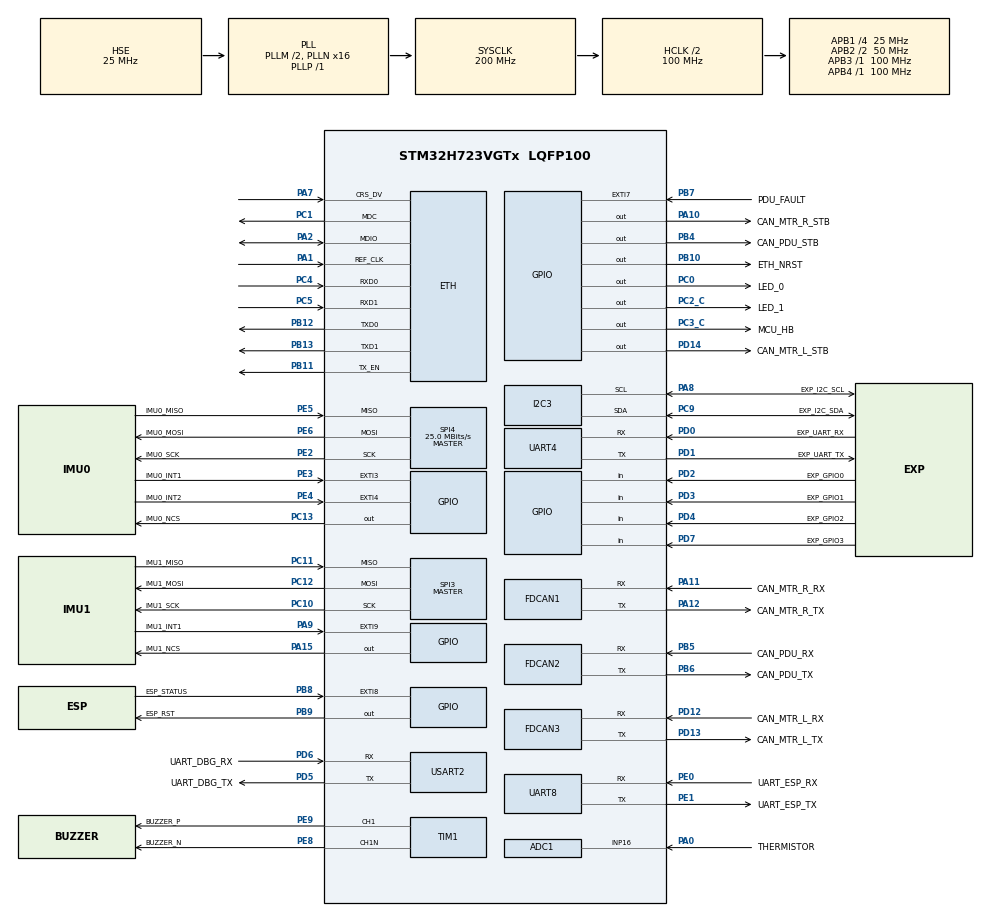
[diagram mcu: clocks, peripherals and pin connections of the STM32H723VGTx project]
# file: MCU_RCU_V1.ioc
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ADC1.Channel-2\#ChannelRegularConversion=ADC_CHANNEL_16
ADC1.NbrOfConversionFlag=1
ADC1.OffsetNumber-2\#ChannelRegularConversion=ADC_OFFSET_NONE
ADC1.OffsetSignedSaturation-2\#ChannelRegularConversion=DISABLE
ADC1.Rank-2\#ChannelRegularConversion=1
ADC1.SamplingTime-2\#ChannelRegularConversion=ADC_SAMPLETIME_1CYCLE_5
ADC1.master=1
CORTEX_M7.AccessPermission_S-Cortex_Memory_Protection_Unit_Region1_Settings_S=MPU_REGION_FULL_ACCESS
CORTEX_M7.BaseAddress_S-Cortex_Memory_Protection_Unit_Region1_Settings_S=0x30000000
CORTEX_M7.Enable_S-Cortex_Memory_Protection_Unit_Region1_Settings_S=MPU_REGION_ENABLE
CORTEX_M7.Size_S-Cortex_Memory_Protection_Unit_Region1_Settings_S=MPU_REGION_SIZE_32KB
CORTEX_M7.TypeExtField_S-Cortex_Memory_Protection_Unit_Region1_Settings_S=MPU_TEX_LEVEL1
CORTEX_M7.default_mode_Activation=1
ETH.MediaInterface=HAL_ETH_RMII_MODE
FDCAN1.CalculateBaudRateNominal=1000000
FDCAN1.CalculateTimeBitNominal=1000
FDCAN1.CalculateTimeQuantumNominal=40.0
FDCAN1.ExtFiltersNbr=1
FDCAN1.NominalPrescaler=1
FDCAN1.NominalSyncJumpWidth=5
FDCAN1.NominalTimeSeg1=19
FDCAN1.NominalTimeSeg2=5
FDCAN1.RxFifo0ElmtsNbr=8
FDCAN1.StdFiltersNbr=1
FDCAN1.TxFifoQueueElmtsNbr=8
FDCAN2.CalculateBaudRateNominal=250000
FDCAN2.CalculateTimeBitNominal=4000
FDCAN2.CalculateTimeQuantumNominal=160.0
FDCAN2.DataPrescaler=4
FDCAN2.DataSyncJumpWidth=5
FDCAN2.DataTimeSeg1=19
FDCAN2.DataTimeSeg2=5
FDCAN2.MessageRAMOffset=67
FDCAN2.NominalPrescaler=4
FDCAN2.NominalSyncJumpWidth=5
FDCAN2.NominalTimeSeg1=19
FDCAN2.NominalTimeSeg2=5
FDCAN2.RxFifo0ElmtsNbr=1
FDCAN2.StdFiltersNbr=1
FDCAN2.TxFifoQueueElmtsNbr=1
FDCAN3.CalculateBaudRateNominal=1000000
FDCAN3.CalculateTimeBitNominal=1000
FDCAN3.CalculateTimeQuantumNominal=40.0
FDCAN3.ExtFiltersNbr=1
FDCAN3.MessageRAMOffset=76
FDCAN3.NominalPrescaler=1
FDCAN3.NominalSyncJumpWidth=5
FDCAN3.NominalTimeSeg1=19
FDCAN3.NominalTimeSeg2=5
FDCAN3.RxFifo0ElmtsNbr=8
FDCAN3.StdFiltersNbr=1
FDCAN3.TxFifoQueueElmtsNbr=8
I2C3.Timing=0x00606092
LWIP.BSP.number=1
LWIP.GATEWAY_ADDRESS=192.168.100.001
LWIP.IP_ADDRESS=192.168.100.010
LWIP.LWIP_DHCP=0
LWIP.MEM_SIZE=4096
LWIP.NETMASK_ADDRESS=255.255.255.000
LWIP.PBUF_POOL_SIZE=16
LWIP.Version=v2.2.1_Cube
LWIP0.BSP.STBoard=false
LWIP0.BSP.api=BSP_COMPONENT_DRIVER
LWIP0.BSP.component=LAN8742
LWIP0.BSP.instance=LAN8742
LWIP0.BSP.name=Driver_PHY
LWIP0.BSP.semaphore=S_LAN8742
LWIP0.BSP.solution=LAN8742
Mcu.Family=STM32H7
Mcu.Name=STM32H723VGTx
Mcu.Package=LQFP100
NVIC.EXTI3_IRQn=true\:0\:0\:false\:false\:true\:true\:true\:true
NVIC.EXTI4_IRQn=true\:0\:0\:false\:false\:true\:true\:true\:true
NVIC.EXTI9_5_IRQn=true\:0\:0\:false\:false\:true\:true\:true\:true
NVIC.PriorityGroup=NVIC_PRIORITYGROUP_4
PA0.GPIO_Label=THERMISTOR
PA0.Mode=IN16-Single-Ended
PA0.Signal=ADC1_INP16
PA1.Mode=RMII
PA1.Signal=ETH_REF_CLK
PA10.GPIO_Label=CAN_MTR_R_STB
PA10.Signal=GPIO_Output
PA11.GPIO_Label=CAN_MTR_R_RX
PA11.Mode=FDCAN_Activate
PA11.Signal=FDCAN1_RX
PA12.GPIO_Label=CAN_MTR_R_TX
PA12.Mode=FDCAN_Activate
PA12.Signal=FDCAN1_TX
PA13(JTMS/SWDIO).GPIO_Label=DBG_SWDIO
PA13(JTMS/SWDIO).Mode=Trace_Asynchronous_SW
PA13(JTMS/SWDIO).Signal=DEBUG_JTMS-SWDIO
PA14(JTCK/SWCLK).GPIO_Label=DBG_SWCLK
PA14(JTCK/SWCLK).Mode=Trace_Asynchronous_SW
PA14(JTCK/SWCLK).Signal=DEBUG_JTCK-SWCLK
PA15(JTDI).GPIO_Label=IMU1_NCS
PA15(JTDI).GPIO_Speed=GPIO_SPEED_FREQ_MEDIUM
PA15(JTDI).Signal=GPIO_Output
PA2.Mode=RMII
PA2.Signal=ETH_MDIO
PA7.Mode=RMII
PA7.Signal=ETH_CRS_DV
PA8.GPIO_Label=EXP_I2C_SCL
PA8.Mode=I2C
PA8.Signal=I2C3_SCL
PA9.GPIO_Label=IMU1_INT1
PA9.Signal=GPXTI9
PB10.GPIO_Label=ETH_NRST
PB10.Signal=GPIO_Output
PB11.Mode=RMII
PB11.Signal=ETH_TX_EN
PB12.Mode=RMII
PB12.Signal=ETH_TXD0
PB13.Mode=RMII
PB13.Signal=ETH_TXD1
PB3(JTDO/TRACESWO).GPIO_Label=DBG_SWO
PB3(JTDO/TRACESWO).Mode=Trace_Asynchronous_SW
PB3(JTDO/TRACESWO).Signal=DEBUG_JTDO-SWO
PB4(NJTRST).GPIO_Label=CAN_PDU_STB
PB4(NJTRST).Signal=GPIO_Output
PB5.GPIO_Label=CAN_PDU_RX
PB5.Mode=FDCAN_Activate
PB5.Signal=FDCAN2_RX
PB6.GPIO_Label=CAN_PDU_TX
PB6.Mode=FDCAN_Activate
PB6.Signal=FDCAN2_TX
PB7.GPIO_Label=PDU_FAULT
PB7.Signal=GPXTI7
PB8.GPIO_Label=ESP_STATUS
PB8.GPIO_ModeDefaultEXTI=GPIO_MODE_IT_RISING_FALLING
PB8.Signal=GPXTI8
PB9.GPIO_Label=ESP_RST
PB9.Signal=GPIO_Output
PC0.GPIO_Label=LED_0
PC0.Signal=GPIO_Output
PC1.Mode=RMII
PC1.Signal=ETH_MDC
PC10.GPIO_Label=IMU1_SCK
PC10.GPIO_Speed=GPIO_SPEED_FREQ_MEDIUM
PC10.Mode=Full_Duplex_Master
PC10.Signal=SPI3_SCK
PC11.GPIO_Label=IMU1_MISO
PC11.GPIO_Speed=GPIO_SPEED_FREQ_MEDIUM
PC11.Mode=Full_Duplex_Master
PC11.Signal=SPI3_MISO
PC12.GPIO_Label=IMU1_MOSI
PC12.GPIO_Speed=GPIO_SPEED_FREQ_MEDIUM
PC12.Mode=Full_Duplex_Master
PC12.Signal=SPI3_MOSI
PC13.GPIO_Label=IMU0_NCS
PC13.Signal=GPIO_Output
PC14-OSC32_IN.Mode=LSE-External-Oscillator
PC14-OSC32_IN.Signal=RCC_OSC32_IN
PC15-OSC32_OUT.Mode=LSE-External-Oscillator
PC15-OSC32_OUT.Signal=RCC_OSC32_OUT
PC2_C.GPIO_Label=LED_1
PC2_C.Signal=GPIO_Output
PC3_C.GPIO_Label=MCU_HB
PC3_C.PinState=GPIO_PIN_SET
PC3_C.Signal=GPIO_Output
PC4.Mode=RMII
PC4.Signal=ETH_RXD0
PC5.Mode=RMII
PC5.Signal=ETH_RXD1
PC9.GPIO_Label=EXP_I2C_SDA
PC9.Mode=I2C
PC9.Signal=I2C3_SDA
PD0.GPIO_Label=EXP_UART_RX
PD0.Mode=Asynchronous
PD0.Signal=UART4_RX
PD1.GPIO_Label=EXP_UART_TX
PD1.Mode=Asynchronous
PD1.Signal=UART4_TX
PD12.GPIO_Label=CAN_MTR_L_RX
PD12.Mode=FDCAN_Activate
PD12.Signal=FDCAN3_RX
PD13.GPIO_Label=CAN_MTR_L_TX
PD13.Mode=FDCAN_Activate
PD13.Signal=FDCAN3_TX
PD14.GPIO_Label=CAN_MTR_L_STB
PD14.Signal=GPIO_Output
PD2.GPIO_Label=EXP_GPIO0
PD2.Signal=GPIO_Input
PD3.GPIO_Label=EXP_GPIO1
PD3.Signal=GPIO_Input
PD4.GPIO_Label=EXP_GPIO2
PD4.Signal=GPIO_Input
PD5.GPIO_Label=UART_DBG_TX
PD5.Mode=Asynchronous
PD5.Signal=USART2_TX
PD6.GPIO_Label=UART_DBG_RX
PD6.Mode=Asynchronous
PD6.Signal=USART2_RX
PD7.GPIO_Label=EXP_GPIO3
PD7.Signal=GPIO_Input
PE0.GPIO_Label=UART_ESP_RX
PE0.Mode=Asynchronous
PE0.Signal=UART8_RX
PE1.GPIO_Label=UART_ESP_TX
PE1.Mode=Asynchronous
PE1.Signal=UART8_TX
PE2.GPIO_Label=IMU0_SCK
PE2.GPIO_Speed=GPIO_SPEED_FREQ_MEDIUM
PE2.Mode=Full_Duplex_Master
PE2.Signal=SPI4_SCK
PE3.GPIO_Label=IMU0_INT1
PE3.GPIO_ModeDefaultEXTI=GPIO_MODE_IT_RISING
PE3.Signal=GPXTI3
PE4.GPIO_Label=IMU0_INT2
PE4.GPIO_ModeDefaultEXTI=GPIO_MODE_IT_RISING
PE4.Signal=GPXTI4
PE5.GPIO_Label=IMU0_MISO
PE5.GPIO_Speed=GPIO_SPEED_FREQ_MEDIUM
PE5.Mode=Full_Duplex_Master
PE5.Signal=SPI4_MISO
PE6.GPIO_Label=IMU0_MOSI
PE6.GPIO_Speed=GPIO_SPEED_FREQ_MEDIUM
PE6.Mode=Full_Duplex_Master
PE6.Signal=SPI4_MOSI
PE8.GPIO_Label=BUZZER_N
PE8.GPIO_Speed=GPIO_SPEED_FREQ_MEDIUM
PE8.Mode=PWM Generation1 CH1 CH1N
PE8.Signal=TIM1_CH1N
PE9.GPIO_Label=BUZZER_P
PE9.GPIO_Speed=GPIO_SPEED_FREQ_MEDIUM
PE9.Signal=S_TIM1_CH1
PH0-OSC_IN.Mode=HSE-External-Clock-Source
PH0-OSC_IN.Signal=RCC_OSC_IN
ProjectManager.HeapSize=0x200
ProjectManager.StackSize=0x400
ProjectManager.TargetToolchain=STM32CubeIDE
RCC.ADCFreq_Value=40000000
RCC.APB1Freq_Value=25000000
RCC.APB2Freq_Value=50000000
RCC.APB3Freq_Value=100000000
RCC.APB4Freq_Value=100000000
RCC.CortexFreq_Value=100000000
RCC.D1CPRE=RCC_SYSCLK_DIV2
RCC.D2PPRE1=RCC_APB1_DIV4
RCC.D2PPRE2=RCC_APB2_DIV2
RCC.DIVM1=2
RCC.DIVM2=2
RCC.DIVN1=16
RCC.DIVN2=16
RCC.DIVP1=1
RCC.DIVP2=5
RCC.DIVQ1=3
RCC.FDCANCLockSelection=RCC_FDCANCLKSOURCE_HSE
RCC.HCLKFreq_Value=100000000
RCC.PLL2FRACN=0
RCC.PLL3FRACN=0
RCC.PLLFRACN=0
RCC.PLLSourceVirtual=RCC_PLLSOURCE_HSE
RCC.SYSCLKFreq_VALUE=200000000
RCC.SYSCLKSource=RCC_SYSCLKSOURCE_PLLCLK
RCC.USBFreq_Value=66666666.666666664
SH.S_TIM1_CH1.0=TIM1_CH1,PWM Generation1 CH1 CH1N
SPI3.CalculateBaudRate=33.333332 MBits/s
SPI3.Direction=SPI_DIRECTION_2LINES
SPI3.Mode=SPI_MODE_MASTER
SPI3.VirtualType=VM_MASTER
SPI4.CalculateBaudRate=25.0 MBits/s
SPI4.Direction=SPI_DIRECTION_2LINES
SPI4.Mode=SPI_MODE_MASTER
SPI4.VirtualType=VM_MASTER
TIM1.Channel-Output\ Compare2\ CH2\ CH2N=TIM_CHANNEL_2
TIM1.Channel-PWM\ Generation1\ CH1\ CH1N=TIM_CHANNEL_1
USART2.VirtualMode-Asynchronous=VM_ASYNC
VP_LWIP_VS_Enabled.Mode=Enabled
VP_MEMORYMAP_VS_MEMORYMAP.Mode=CurAppReg
VP_RTC_VS_RTC_Activate.Mode=RTC_Enabled
board=custom

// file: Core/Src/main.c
/* USER CODE BEGIN Header */
/**
 ******************************************************************************
 * @file           : main.c
 * @brief          : Main program body
 ******************************************************************************
 * @attention
 *
 * Copyright (c) 2026 STMicroelectronics.
 * All rights reserved.
 *
 * This software is licensed under terms that can be found in the LICENSE file
 * in the root directory of this software component.
 * If no LICENSE file comes with this software, it is provided AS-IS.
 *
 ******************************************************************************
 */
/* USER CODE END Header */
#include "main.h"
#include "lwip.h"

/* USER CODE BEGIN Includes */
#if defined(RCU_BUILD_MODE_SELFTEST)
#include "rcu_selftest_cli_v1.h"
#elif defined(RCU_BUILD_MODE_RUNTIME)
#include "rcu_app.h"
#else
#error "Define RCU_BUILD_MODE_SELFTEST or RCU_BUILD_MODE_RUNTIME in IDE preprocessor settings"
#endif

/* USER CODE END Includes */

ADC_HandleTypeDef hadc1;

FDCAN_HandleTypeDef hfdcan1;
FDCAN_HandleTypeDef hfdcan2;
FDCAN_HandleTypeDef hfdcan3;

I2C_HandleTypeDef hi2c3;

RTC_HandleTypeDef hrtc;

SPI_HandleTypeDef hspi3;
SPI_HandleTypeDef hspi4;

TIM_HandleTypeDef htim1;

UART_HandleTypeDef huart4;
UART_HandleTypeDef huart8;
UART_HandleTypeDef huart2;

void SystemClock_Config(void);
static void MPU_Config(void);
static void MX_GPIO_Init(void);
static void MX_FDCAN1_Init(void);
static void MX_FDCAN2_Init(void);
static void MX_FDCAN3_Init(void);
static void MX_ADC1_Init(void);
static void MX_SPI4_Init(void);
static void MX_TIM1_Init(void);
static void MX_UART4_Init(void);
static void MX_UART8_Init(void);
static void MX_I2C3_Init(void);
static void MX_RTC_Init(void);
static void MX_SPI3_Init(void);
static void MX_USART2_UART_Init(void);

/* USER CODE BEGIN 0 */
extern void st_dbg_printf(const char *fmt, ...);
/* USER CODE END 0 */

int main(void)
{

  /* MPU Configuration--------------------------------------------------------*/
  MPU_Config();

  /* MCU Configuration--------------------------------------------------------*/

  /* Reset of all peripherals, Initializes the Flash interface and the Systick. */
  HAL_Init();

  /* Configure the system clock */
  SystemClock_Config();

  /* Initialize all configured peripherals */
  MX_GPIO_Init();
  MX_FDCAN1_Init();
  MX_FDCAN2_Init();
  MX_FDCAN3_Init();
  MX_ADC1_Init();
  MX_SPI4_Init();
  MX_TIM1_Init();
  MX_UART4_Init();
  MX_UART8_Init();
  MX_I2C3_Init();
  MX_RTC_Init();
  MX_SPI3_Init();
  MX_USART2_UART_Init();
  MX_LWIP_Init();
  /* USER CODE BEGIN 2 */
  /* Boot diagnostic: print RSR so reset cause is visible after all inits.
   * PINRSTF = external NRST; SFTRSTF = NVIC_SystemReset() (fault/sw). */
  {
    uint32_t rsr = RCC->RSR;
    st_dbg_printf("\r\n[BOOT] RSR=0x%08lX", (unsigned long)rsr);
    if (rsr & RCC_RSR_PINRSTF)   st_dbg_printf(" NRST");
    if (rsr & RCC_RSR_SFTRSTF)   st_dbg_printf(" SFTRST(fault/sw)");
    if (rsr & RCC_RSR_BORRSTF)   st_dbg_printf(" BOR");
    if (rsr & RCC_RSR_IWDG1RSTF) st_dbg_printf(" IWDG");
    if (rsr & RCC_RSR_WWDG1RSTF) st_dbg_printf(" WWDG");
    if (rsr & RCC_RSR_D1RSTF)    st_dbg_printf(" D1PWR");
    if (rsr & RCC_RSR_D2RSTF)    st_dbg_printf(" D2PWR");
    st_dbg_printf("\r\n");
  }
  st_dbg_printf("[BOOT] LwIP init done.\r\n");
#if defined(RCU_BUILD_MODE_SELFTEST)
	RCU_SelfTest_Init();
#elif defined(RCU_BUILD_MODE_RUNTIME)
	RCU_App_Init();
#endif

  /* USER CODE END 2 */

  /* Infinite loop */
  /* USER CODE BEGIN WHILE */
	while (1) {
#if defined(RCU_BUILD_MODE_SELFTEST)
		RCU_SelfTest_Task();
#elif defined(RCU_BUILD_MODE_RUNTIME)
		RCU_App_Task();
#endif
    /* USER CODE END WHILE */

	}
}

void SystemClock_Config(void)
{
  RCC_OscInitTypeDef RCC_OscInitStruct = {0};
  RCC_ClkInitTypeDef RCC_ClkInitStruct = {0};

  /** Supply configuration update enable
  */
  HAL_PWREx_ConfigSupply(PWR_LDO_SUPPLY);

  /** Configure the main internal regulator output voltage
  */
  __HAL_PWR_VOLTAGESCALING_CONFIG(PWR_REGULATOR_VOLTAGE_SCALE2);

  while(!__HAL_PWR_GET_FLAG(PWR_FLAG_VOSRDY)) {}

  /** Initializes the RCC Oscillators according to the specified parameters
  * in the RCC_OscInitTypeDef structure.
  */
  RCC_OscInitStruct.OscillatorType = RCC_OSCILLATORTYPE_LSI|RCC_OSCILLATORTYPE_HSE;
  RCC_OscInitStruct.HSEState = RCC_HSE_BYPASS;
  RCC_OscInitStruct.LSIState = RCC_LSI_ON;
  RCC_OscInitStruct.PLL.PLLState = RCC_PLL_ON;
  RCC_OscInitStruct.PLL.PLLSource = RCC_PLLSOURCE_HSE;
  RCC_OscInitStruct.PLL.PLLM = 2;
  RCC_OscInitStruct.PLL.PLLN = 16;
  RCC_OscInitStruct.PLL.PLLP = 1;
  RCC_OscInitStruct.PLL.PLLQ = 3;
  RCC_OscInitStruct.PLL.PLLR = 2;
  RCC_OscInitStruct.PLL.PLLRGE = RCC_PLL1VCIRANGE_3;
  RCC_OscInitStruct.PLL.PLLVCOSEL = RCC_PLL1VCOWIDE;
  RCC_OscInitStruct.PLL.PLLFRACN = 0;
  if (HAL_RCC_OscConfig(&RCC_OscInitStruct) != HAL_OK)
  {
    Error_Handler();
  }

  /** Initializes the CPU, AHB and APB buses clocks
  */
  RCC_ClkInitStruct.ClockType = RCC_CLOCKTYPE_HCLK|RCC_CLOCKTYPE_SYSCLK
                              |RCC_CLOCKTYPE_PCLK1|RCC_CLOCKTYPE_PCLK2
                              |RCC_CLOCKTYPE_D3PCLK1|RCC_CLOCKTYPE_D1PCLK1;
  RCC_ClkInitStruct.SYSCLKSource = RCC_SYSCLKSOURCE_PLLCLK;
  RCC_ClkInitStruct.SYSCLKDivider = RCC_SYSCLK_DIV2;
  RCC_ClkInitStruct.AHBCLKDivider = RCC_HCLK_DIV1;
  RCC_ClkInitStruct.APB3CLKDivider = RCC_APB3_DIV1;
  RCC_ClkInitStruct.APB1CLKDivider = RCC_APB1_DIV4;
  RCC_ClkInitStruct.APB2CLKDivider = RCC_APB2_DIV2;
  RCC_ClkInitStruct.APB4CLKDivider = RCC_APB4_DIV1;

  if (HAL_RCC_ClockConfig(&RCC_ClkInitStruct, FLASH_LATENCY_1) != HAL_OK)
  {
    Error_Handler();
  }
}

static void MX_ADC1_Init(void)
{

  ADC_MultiModeTypeDef multimode = {0};
  ADC_ChannelConfTypeDef sConfig = {0};

  /** Common config
  */
  hadc1.Instance = ADC1;
  hadc1.Init.ClockPrescaler = ADC_CLOCK_ASYNC_DIV1;
  hadc1.Init.Resolution = ADC_RESOLUTION_16B;
  hadc1.Init.ScanConvMode = ADC_SCAN_DISABLE;
  hadc1.Init.EOCSelection = ADC_EOC_SINGLE_CONV;
  hadc1.Init.LowPowerAutoWait = DISABLE;
  hadc1.Init.ContinuousConvMode = DISABLE;
  hadc1.Init.NbrOfConversion = 1;
  hadc1.Init.DiscontinuousConvMode = DISABLE;
  hadc1.Init.ExternalTrigConv = ADC_SOFTWARE_START;
  hadc1.Init.ExternalTrigConvEdge = ADC_EXTERNALTRIGCONVEDGE_NONE;
  hadc1.Init.ConversionDataManagement = ADC_CONVERSIONDATA_DR;
  hadc1.Init.Overrun = ADC_OVR_DATA_PRESERVED;
  hadc1.Init.LeftBitShift = ADC_LEFTBITSHIFT_NONE;
  hadc1.Init.OversamplingMode = DISABLE;
  hadc1.Init.Oversampling.Ratio = 1;
  if (HAL_ADC_Init(&hadc1) != HAL_OK)
  {
    Error_Handler();
  }

  /** Configure the ADC multi-mode
  */
  multimode.Mode = ADC_MODE_INDEPENDENT;
  if (HAL_ADCEx_MultiModeConfigChannel(&hadc1, &multimode) != HAL_OK)
  {
    Error_Handler();
  }

  /** Configure Regular Channel
  */
  sConfig.Channel = ADC_CHANNEL_16;
  sConfig.Rank = ADC_REGULAR_RANK_1;
  sConfig.SamplingTime = ADC_SAMPLETIME_1CYCLE_5;
  sConfig.SingleDiff = ADC_SINGLE_ENDED;
  sConfig.OffsetNumber = ADC_OFFSET_NONE;
  sConfig.Offset = 0;
  sConfig.OffsetSignedSaturation = DISABLE;
  if (HAL_ADC_ConfigChannel(&hadc1, &sConfig) != HAL_OK)
  {
    Error_Handler();
  }

}

static void MX_FDCAN1_Init(void)
{

  hfdcan1.Instance = FDCAN1;
  hfdcan1.Init.FrameFormat = FDCAN_FRAME_CLASSIC;
  hfdcan1.Init.Mode = FDCAN_MODE_NORMAL;
  hfdcan1.Init.AutoRetransmission = DISABLE;
  hfdcan1.Init.TransmitPause = DISABLE;
  hfdcan1.Init.ProtocolException = DISABLE;
  hfdcan1.Init.NominalPrescaler = 1;
  hfdcan1.Init.NominalSyncJumpWidth = 5;
  hfdcan1.Init.NominalTimeSeg1 = 19;
  hfdcan1.Init.NominalTimeSeg2 = 5;
  hfdcan1.Init.DataPrescaler = 1;
  hfdcan1.Init.DataSyncJumpWidth = 1;
  hfdcan1.Init.DataTimeSeg1 = 1;
  hfdcan1.Init.DataTimeSeg2 = 1;
  hfdcan1.Init.MessageRAMOffset = 0;
  hfdcan1.Init.StdFiltersNbr = 1;
  hfdcan1.Init.ExtFiltersNbr = 1;
  hfdcan1.Init.RxFifo0ElmtsNbr = 8;
  hfdcan1.Init.RxFifo0ElmtSize = FDCAN_DATA_BYTES_8;
  hfdcan1.Init.RxFifo1ElmtsNbr = 0;
  hfdcan1.Init.RxFifo1ElmtSize = FDCAN_DATA_BYTES_8;
  hfdcan1.Init.RxBuffersNbr = 0;
  hfdcan1.Init.RxBufferSize = FDCAN_DATA_BYTES_8;
  hfdcan1.Init.TxEventsNbr = 0;
  hfdcan1.Init.TxBuffersNbr = 0;
  hfdcan1.Init.TxFifoQueueElmtsNbr = 8;
  hfdcan1.Init.TxFifoQueueMode = FDCAN_TX_FIFO_OPERATION;
  hfdcan1.Init.TxElmtSize = FDCAN_DATA_BYTES_8;
  if (HAL_FDCAN_Init(&hfdcan1) != HAL_OK)
  {
    Error_Handler();
  }

}

static void MX_FDCAN2_Init(void)
{

  hfdcan2.Instance = FDCAN2;
  hfdcan2.Init.FrameFormat = FDCAN_FRAME_CLASSIC;
  hfdcan2.Init.Mode = FDCAN_MODE_NORMAL;
  hfdcan2.Init.AutoRetransmission = DISABLE;
  hfdcan2.Init.TransmitPause = DISABLE;
  hfdcan2.Init.ProtocolException = DISABLE;
  hfdcan2.Init.NominalPrescaler = 4;
  hfdcan2.Init.NominalSyncJumpWidth = 5;
  hfdcan2.Init.NominalTimeSeg1 = 19;
  hfdcan2.Init.NominalTimeSeg2 = 5;
  hfdcan2.Init.DataPrescaler = 4;
  hfdcan2.Init.DataSyncJumpWidth = 5;
  hfdcan2.Init.DataTimeSeg1 = 19;
  hfdcan2.Init.DataTimeSeg2 = 5;
  hfdcan2.Init.MessageRAMOffset = 67;
  hfdcan2.Init.StdFiltersNbr = 1;
  hfdcan2.Init.ExtFiltersNbr = 0;
  hfdcan2.Init.RxFifo0ElmtsNbr = 1;
  hfdcan2.Init.RxFifo0ElmtSize = FDCAN_DATA_BYTES_8;
  hfdcan2.Init.RxFifo1ElmtsNbr = 0;
  hfdcan2.Init.RxFifo1ElmtSize = FDCAN_DATA_BYTES_8;
  hfdcan2.Init.RxBuffersNbr = 0;
  hfdcan2.Init.RxBufferSize = FDCAN_DATA_BYTES_8;
  hfdcan2.Init.TxEventsNbr = 0;
  hfdcan2.Init.TxBuffersNbr = 0;
  hfdcan2.Init.TxFifoQueueElmtsNbr = 1;
  hfdcan2.Init.TxFifoQueueMode = FDCAN_TX_FIFO_OPERATION;
  hfdcan2.Init.TxElmtSize = FDCAN_DATA_BYTES_8;
  if (HAL_FDCAN_Init(&hfdcan2) != HAL_OK)
  {
    Error_Handler();
  }

}

static void MX_FDCAN3_Init(void)
{

  hfdcan3.Instance = FDCAN3;
  hfdcan3.Init.FrameFormat = FDCAN_FRAME_CLASSIC;
  hfdcan3.Init.Mode = FDCAN_MODE_NORMAL;
  hfdcan3.Init.AutoRetransmission = DISABLE;
  hfdcan3.Init.TransmitPause = DISABLE;
  hfdcan3.Init.ProtocolException = DISABLE;
  hfdcan3.Init.NominalPrescaler = 1;
  hfdcan3.Init.NominalSyncJumpWidth = 5;
  hfdcan3.Init.NominalTimeSeg1 = 19;
  hfdcan3.Init.NominalTimeSeg2 = 5;
  hfdcan3.Init.DataPrescaler = 1;
  hfdcan3.Init.DataSyncJumpWidth = 1;
  hfdcan3.Init.DataTimeSeg1 = 1;
  hfdcan3.Init.DataTimeSeg2 = 1;
  hfdcan3.Init.MessageRAMOffset = 76;
  hfdcan3.Init.StdFiltersNbr = 1;
  hfdcan3.Init.ExtFiltersNbr = 1;
  hfdcan3.Init.RxFifo0ElmtsNbr = 8;
  hfdcan3.Init.RxFifo0ElmtSize = FDCAN_DATA_BYTES_8;
  hfdcan3.Init.RxFifo1ElmtsNbr = 0;
  hfdcan3.Init.RxFifo1ElmtSize = FDCAN_DATA_BYTES_8;
  hfdcan3.Init.RxBuffersNbr = 0;
  hfdcan3.Init.RxBufferSize = FDCAN_DATA_BYTES_8;
  hfdcan3.Init.TxEventsNbr = 0;
  hfdcan3.Init.TxBuffersNbr = 0;
  hfdcan3.Init.TxFifoQueueElmtsNbr = 8;
  hfdcan3.Init.TxFifoQueueMode = FDCAN_TX_FIFO_OPERATION;
  hfdcan3.Init.TxElmtSize = FDCAN_DATA_BYTES_8;
  if (HAL_FDCAN_Init(&hfdcan3) != HAL_OK)
  {
    Error_Handler();
  }

}

static void MX_I2C3_Init(void)
{

  hi2c3.Instance = I2C3;
  hi2c3.Init.Timing = 0x00606092;
  hi2c3.Init.OwnAddress1 = 0;
  hi2c3.Init.AddressingMode = I2C_ADDRESSINGMODE_7BIT;
  hi2c3.Init.DualAddressMode = I2C_DUALADDRESS_DISABLE;
  hi2c3.Init.OwnAddress2 = 0;
  hi2c3.Init.OwnAddress2Masks = I2C_OA2_NOMASK;
  hi2c3.Init.GeneralCallMode = I2C_GENERALCALL_DISABLE;
  hi2c3.Init.NoStretchMode = I2C_NOSTRETCH_DISABLE;
  if (HAL_I2C_Init(&hi2c3) != HAL_OK)
  {
    Error_Handler();
  }

  /** Configure Analogue filter
  */
  if (HAL_I2CEx_ConfigAnalogFilter(&hi2c3, I2C_ANALOGFILTER_ENABLE) != HAL_OK)
  {
    Error_Handler();
  }

  /** Configure Digital filter
  */
  if (HAL_I2CEx_ConfigDigitalFilter(&hi2c3, 0) != HAL_OK)
  {
    Error_Handler();
  }

}

static void MX_RTC_Init(void)
{

  /** Initialize RTC Only
  */
  hrtc.Instance = RTC;
  hrtc.Init.HourFormat = RTC_HOURFORMAT_24;
  hrtc.Init.AsynchPrediv = 127;
  hrtc.Init.SynchPrediv = 255;
  hrtc.Init.OutPut = RTC_OUTPUT_DISABLE;
  hrtc.Init.OutPutPolarity = RTC_OUTPUT_POLARITY_HIGH;
  hrtc.Init.OutPutType = RTC_OUTPUT_TYPE_OPENDRAIN;
  hrtc.Init.OutPutRemap = RTC_OUTPUT_REMAP_NONE;
  if (HAL_RTC_Init(&hrtc) != HAL_OK)
  {
    Error_Handler();
  }

}

static void MX_SPI3_Init(void)
{

  /* SPI3 parameter configuration*/
  hspi3.Instance = SPI3;
  hspi3.Init.Mode = SPI_MODE_MASTER;
  hspi3.Init.Direction = SPI_DIRECTION_2LINES;
  hspi3.Init.DataSize = SPI_DATASIZE_4BIT;
  hspi3.Init.CLKPolarity = SPI_POLARITY_LOW;
  hspi3.Init.CLKPhase = SPI_PHASE_1EDGE;
  hspi3.Init.NSS = SPI_NSS_SOFT;
  hspi3.Init.BaudRatePrescaler = SPI_BAUDRATEPRESCALER_2;
  hspi3.Init.FirstBit = SPI_FIRSTBIT_MSB;
  hspi3.Init.TIMode = SPI_TIMODE_DISABLE;
  hspi3.Init.CRCCalculation = SPI_CRCCALCULATION_DISABLE;
  hspi3.Init.CRCPolynomial = 0x0;
  hspi3.Init.NSSPMode = SPI_NSS_PULSE_ENABLE;
  hspi3.Init.NSSPolarity = SPI_NSS_POLARITY_LOW;
  hspi3.Init.FifoThreshold = SPI_FIFO_THRESHOLD_01DATA;
  hspi3.Init.TxCRCInitializationPattern = SPI_CRC_INITIALIZATION_ALL_ZERO_PATTERN;
  hspi3.Init.RxCRCInitializationPattern = SPI_CRC_INITIALIZATION_ALL_ZERO_PATTERN;
  hspi3.Init.MasterSSIdleness = SPI_MASTER_SS_IDLENESS_00CYCLE;
  hspi3.Init.MasterInterDataIdleness = SPI_MASTER_INTERDATA_IDLENESS_00CYCLE;
  hspi3.Init.MasterReceiverAutoSusp = SPI_MASTER_RX_AUTOSUSP_DISABLE;
  hspi3.Init.MasterKeepIOState = SPI_MASTER_KEEP_IO_STATE_DISABLE;
  hspi3.Init.IOSwap = SPI_IO_SWAP_DISABLE;
  if (HAL_SPI_Init(&hspi3) != HAL_OK)
  {
    Error_Handler();
  }

}

static void MX_SPI4_Init(void)
{

  /* SPI4 parameter configuration*/
  hspi4.Instance = SPI4;
  hspi4.Init.Mode = SPI_MODE_MASTER;
  hspi4.Init.Direction = SPI_DIRECTION_2LINES;
  hspi4.Init.DataSize = SPI_DATASIZE_4BIT;
  hspi4.Init.CLKPolarity = SPI_POLARITY_LOW;
  hspi4.Init.CLKPhase = SPI_PHASE_1EDGE;
  hspi4.Init.NSS = SPI_NSS_SOFT;
  hspi4.Init.BaudRatePrescaler = SPI_BAUDRATEPRESCALER_2;
  hspi4.Init.FirstBit = SPI_FIRSTBIT_MSB;
  hspi4.Init.TIMode = SPI_TIMODE_DISABLE;
  hspi4.Init.CRCCalculation = SPI_CRCCALCULATION_DISABLE;
  hspi4.Init.CRCPolynomial = 0x0;
  hspi4.Init.NSSPMode = SPI_NSS_PULSE_ENABLE;
  hspi4.Init.NSSPolarity = SPI_NSS_POLARITY_LOW;
  hspi4.Init.FifoThreshold = SPI_FIFO_THRESHOLD_01DATA;
  hspi4.Init.TxCRCInitializationPattern = SPI_CRC_INITIALIZATION_ALL_ZERO_PATTERN;
  hspi4.Init.RxCRCInitializationPattern = SPI_CRC_INITIALIZATION_ALL_ZERO_PATTERN;
  hspi4.Init.MasterSSIdleness = SPI_MASTER_SS_IDLENESS_00CYCLE;
  hspi4.Init.MasterInterDataIdleness = SPI_MASTER_INTERDATA_IDLENESS_00CYCLE;
  hspi4.Init.MasterReceiverAutoSusp = SPI_MASTER_RX_AUTOSUSP_DISABLE;
  hspi4.Init.MasterKeepIOState = SPI_MASTER_KEEP_IO_STATE_DISABLE;
  hspi4.Init.IOSwap = SPI_IO_SWAP_DISABLE;
  if (HAL_SPI_Init(&hspi4) != HAL_OK)
  {
    Error_Handler();
  }

}

static void MX_TIM1_Init(void)
{

  TIM_MasterConfigTypeDef sMasterConfig = {0};
  TIM_OC_InitTypeDef sConfigOC = {0};
  TIM_BreakDeadTimeConfigTypeDef sBreakDeadTimeConfig = {0};

  htim1.Instance = TIM1;
  htim1.Init.Prescaler = 0;
  htim1.Init.CounterMode = TIM_COUNTERMODE_UP;
  htim1.Init.Period = 65535;
  htim1.Init.ClockDivision = TIM_CLOCKDIVISION_DIV1;
  htim1.Init.RepetitionCounter = 0;
  htim1.Init.AutoReloadPreload = TIM_AUTORELOAD_PRELOAD_DISABLE;
  if (HAL_TIM_PWM_Init(&htim1) != HAL_OK)
  {
    Error_Handler();
  }
  sMasterConfig.MasterOutputTrigger = TIM_TRGO_RESET;
  sMasterConfig.MasterOutputTrigger2 = TIM_TRGO2_RESET;
  sMasterConfig.MasterSlaveMode = TIM_MASTERSLAVEMODE_DISABLE;
  if (HAL_TIMEx_MasterConfigSynchronization(&htim1, &sMasterConfig) != HAL_OK)
  {
    Error_Handler();
  }
  sConfigOC.OCMode = TIM_OCMODE_PWM1;
  sConfigOC.Pulse = 0;
  sConfigOC.OCPolarity = TIM_OCPOLARITY_HIGH;
  sConfigOC.OCNPolarity = TIM_OCNPOLARITY_HIGH;
  sConfigOC.OCFastMode = TIM_OCFAST_DISABLE;
  sConfigOC.OCIdleState = TIM_OCIDLESTATE_RESET;
  sConfigOC.OCNIdleState = TIM_OCNIDLESTATE_RESET;
  if (HAL_TIM_PWM_ConfigChannel(&htim1, &sConfigOC, TIM_CHANNEL_1) != HAL_OK)
  {
    Error_Handler();
  }
  sBreakDeadTimeConfig.OffStateRunMode = TIM_OSSR_DISABLE;
  sBreakDeadTimeConfig.OffStateIDLEMode = TIM_OSSI_DISABLE;
  sBreakDeadTimeConfig.LockLevel = TIM_LOCKLEVEL_OFF;
  sBreakDeadTimeConfig.DeadTime = 0;
  sBreakDeadTimeConfig.BreakState = TIM_BREAK_DISABLE;
  sBreakDeadTimeConfig.BreakPolarity = TIM_BREAKPOLARITY_HIGH;
  sBreakDeadTimeConfig.BreakFilter = 0;
  sBreakDeadTimeConfig.Break2State = TIM_BREAK2_DISABLE;
  sBreakDeadTimeConfig.Break2Polarity = TIM_BREAK2POLARITY_HIGH;
  sBreakDeadTimeConfig.Break2Filter = 0;
  sBreakDeadTimeConfig.AutomaticOutput = TIM_AUTOMATICOUTPUT_DISABLE;
  if (HAL_TIMEx_ConfigBreakDeadTime(&htim1, &sBreakDeadTimeConfig) != HAL_OK)
  {
    Error_Handler();
  }
  HAL_TIM_MspPostInit(&htim1);

}

static void MX_UART4_Init(void)
{

  huart4.Instance = UART4;
  huart4.Init.BaudRate = 115200;
  huart4.Init.WordLength = UART_WORDLENGTH_8B;
  huart4.Init.StopBits = UART_STOPBITS_1;
  huart4.Init.Parity = UART_PARITY_NONE;
  huart4.Init.Mode = UART_MODE_TX_RX;
  huart4.Init.HwFlowCtl = UART_HWCONTROL_NONE;
  huart4.Init.OverSampling = UART_OVERSAMPLING_16;
  huart4.Init.OneBitSampling = UART_ONE_BIT_SAMPLE_DISABLE;
  huart4.Init.ClockPrescaler = UART_PRESCALER_DIV1;
  huart4.AdvancedInit.AdvFeatureInit = UART_ADVFEATURE_NO_INIT;
  if (HAL_UART_Init(&huart4) != HAL_OK)
  {
    Error_Handler();
  }
  if (HAL_UARTEx_SetTxFifoThreshold(&huart4, UART_TXFIFO_THRESHOLD_1_8) != HAL_OK)
  {
    Error_Handler();
  }
  if (HAL_UARTEx_SetRxFifoThreshold(&huart4, UART_RXFIFO_THRESHOLD_1_8) != HAL_OK)
  {
    Error_Handler();
  }
  if (HAL_UARTEx_DisableFifoMode(&huart4) != HAL_OK)
  {
    Error_Handler();
  }

}

static void MX_UART8_Init(void)
{

  huart8.Instance = UART8;
  huart8.Init.BaudRate = 115200;
  huart8.Init.WordLength = UART_WORDLENGTH_8B;
  huart8.Init.StopBits = UART_STOPBITS_1;
  huart8.Init.Parity = UART_PARITY_NONE;
  huart8.Init.Mode = UART_MODE_TX_RX;
  huart8.Init.HwFlowCtl = UART_HWCONTROL_NONE;
  huart8.Init.OverSampling = UART_OVERSAMPLING_16;
  huart8.Init.OneBitSampling = UART_ONE_BIT_SAMPLE_DISABLE;
  huart8.Init.ClockPrescaler = UART_PRESCALER_DIV1;
  huart8.AdvancedInit.AdvFeatureInit = UART_ADVFEATURE_NO_INIT;
  if (HAL_UART_Init(&huart8) != HAL_OK)
  {
    Error_Handler();
  }
  if (HAL_UARTEx_SetTxFifoThreshold(&huart8, UART_TXFIFO_THRESHOLD_1_8) != HAL_OK)
  {
    Error_Handler();
  }
  if (HAL_UARTEx_SetRxFifoThreshold(&huart8, UART_RXFIFO_THRESHOLD_1_8) != HAL_OK)
  {
    Error_Handler();
  }
  if (HAL_UARTEx_DisableFifoMode(&huart8) != HAL_OK)
  {
    Error_Handler();
  }

}

static void MX_USART2_UART_Init(void)
{

  huart2.Instance = USART2;
  huart2.Init.BaudRate = 115200;
  huart2.Init.WordLength = UART_WORDLENGTH_8B;
  huart2.Init.StopBits = UART_STOPBITS_1;
  huart2.Init.Parity = UART_PARITY_NONE;
  huart2.Init.Mode = UART_MODE_TX_RX;
  huart2.Init.HwFlowCtl = UART_HWCONTROL_NONE;
  huart2.Init.OverSampling = UART_OVERSAMPLING_16;
  huart2.Init.OneBitSampling = UART_ONE_BIT_SAMPLE_DISABLE;
  huart2.Init.ClockPrescaler = UART_PRESCALER_DIV1;
  huart2.AdvancedInit.AdvFeatureInit = UART_ADVFEATURE_NO_INIT;
  if (HAL_UART_Init(&huart2) != HAL_OK)
  {
    Error_Handler();
  }
  if (HAL_UARTEx_SetTxFifoThreshold(&huart2, UART_TXFIFO_THRESHOLD_1_8) != HAL_OK)
  {
    Error_Handler();
  }
  if (HAL_UARTEx_SetRxFifoThreshold(&huart2, UART_RXFIFO_THRESHOLD_1_8) != HAL_OK)
  {
    Error_Handler();
  }
  if (HAL_UARTEx_DisableFifoMode(&huart2) != HAL_OK)
  {
    Error_Handler();
  }

}

static void MX_GPIO_Init(void)
{
  GPIO_InitTypeDef GPIO_InitStruct = {0};

  /* GPIO Ports Clock Enable */
  __HAL_RCC_GPIOE_CLK_ENABLE();
  __HAL_RCC_GPIOC_CLK_ENABLE();
  __HAL_RCC_GPIOH_CLK_ENABLE();
  __HAL_RCC_GPIOA_CLK_ENABLE();
  __HAL_RCC_GPIOB_CLK_ENABLE();
  __HAL_RCC_GPIOD_CLK_ENABLE();

  /*Configure GPIO pin Output Level */
  HAL_GPIO_WritePin(GPIOC, IMU0_NCS_Pin|LED_0_Pin|LED_1_Pin, GPIO_PIN_RESET);

  /*Configure GPIO pin Output Level */
  HAL_GPIO_WritePin(MCU_HB_GPIO_Port, MCU_HB_Pin, GPIO_PIN_SET);

  /*Configure GPIO pin Output Level */
  HAL_GPIO_WritePin(GPIOB, ETH_NRST_Pin|CAN_PDU_STB_Pin|ESP_RST_Pin, GPIO_PIN_RESET);

  /*Configure GPIO pin Output Level */
  HAL_GPIO_WritePin(CAN_MTR_L_STB_GPIO_Port, CAN_MTR_L_STB_Pin, GPIO_PIN_RESET);

  /*Configure GPIO pin Output Level */
  HAL_GPIO_WritePin(GPIOA, CAN_MTR_R_STB_Pin|IMU1_NCS_Pin, GPIO_PIN_RESET);

  /*Configure GPIO pins : IMU0_INT1_Pin IMU0_INT2_Pin */
  GPIO_InitStruct.Pin = IMU0_INT1_Pin|IMU0_INT2_Pin;
  GPIO_InitStruct.Mode = GPIO_MODE_IT_RISING;
  GPIO_InitStruct.Pull = GPIO_NOPULL;
  HAL_GPIO_Init(GPIOE, &GPIO_InitStruct);

  /*Configure GPIO pins : IMU0_NCS_Pin LED_0_Pin LED_1_Pin MCU_HB_Pin */
  GPIO_InitStruct.Pin = IMU0_NCS_Pin|LED_0_Pin|LED_1_Pin|MCU_HB_Pin;
  GPIO_InitStruct.Mode = GPIO_MODE_OUTPUT_PP;
  GPIO_InitStruct.Pull = GPIO_NOPULL;
  GPIO_InitStruct.Speed = GPIO_SPEED_FREQ_LOW;
  HAL_GPIO_Init(GPIOC, &GPIO_InitStruct);

  /*Configure GPIO pins : ETH_NRST_Pin CAN_PDU_STB_Pin ESP_RST_Pin */
  GPIO_InitStruct.Pin = ETH_NRST_Pin|CAN_PDU_STB_Pin|ESP_RST_Pin;
  GPIO_InitStruct.Mode = GPIO_MODE_OUTPUT_PP;
  GPIO_InitStruct.Pull = GPIO_NOPULL;
  GPIO_InitStruct.Speed = GPIO_SPEED_FREQ_LOW;
  HAL_GPIO_Init(GPIOB, &GPIO_InitStruct);

  /*Configure GPIO pin : CAN_MTR_L_STB_Pin */
  GPIO_InitStruct.Pin = CAN_MTR_L_STB_Pin;
  GPIO_InitStruct.Mode = GPIO_MODE_OUTPUT_PP;
  GPIO_InitStruct.Pull = GPIO_NOPULL;
  GPIO_InitStruct.Speed = GPIO_SPEED_FREQ_LOW;
  HAL_GPIO_Init(CAN_MTR_L_STB_GPIO_Port, &GPIO_InitStruct);

  /*Configure GPIO pin : IMU1_INT1_Pin */
  GPIO_InitStruct.Pin = IMU1_INT1_Pin;
  GPIO_InitStruct.Mode = GPIO_MODE_IT_RISING;
  GPIO_InitStruct.Pull = GPIO_NOPULL;
  HAL_GPIO_Init(IMU1_INT1_GPIO_Port, &GPIO_InitStruct);

  /*Configure GPIO pin : CAN_MTR_R_STB_Pin */
  GPIO_InitStruct.Pin = CAN_MTR_R_STB_Pin;
  GPIO_InitStruct.Mode = GPIO_MODE_OUTPUT_PP;
  GPIO_InitStruct.Pull = GPIO_NOPULL;
  GPIO_InitStruct.Speed = GPIO_SPEED_FREQ_LOW;
  HAL_GPIO_Init(CAN_MTR_R_STB_GPIO_Port, &GPIO_InitStruct);

  /*Configure GPIO pin : IMU1_NCS_Pin */
  GPIO_InitStruct.Pin = IMU1_NCS_Pin;
  GPIO_InitStruct.Mode = GPIO_MODE_OUTPUT_PP;
  GPIO_InitStruct.Pull = GPIO_NOPULL;
  GPIO_InitStruct.Speed = GPIO_SPEED_FREQ_MEDIUM;
  HAL_GPIO_Init(IMU1_NCS_GPIO_Port, &GPIO_InitStruct);

  /*Configure GPIO pins : EXP_GPIO0_Pin EXP_GPIO1_Pin EXP_GPIO2_Pin EXP_GPIO3_Pin */
  GPIO_InitStruct.Pin = EXP_GPIO0_Pin|EXP_GPIO1_Pin|EXP_GPIO2_Pin|EXP_GPIO3_Pin;
  GPIO_InitStruct.Mode = GPIO_MODE_INPUT;
  GPIO_InitStruct.Pull = GPIO_NOPULL;
  HAL_GPIO_Init(GPIOD, &GPIO_InitStruct);

  /*Configure GPIO pin : PDU_FAULT_Pin */
  GPIO_InitStruct.Pin = PDU_FAULT_Pin;
  GPIO_InitStruct.Mode = GPIO_MODE_IT_RISING;
  GPIO_InitStruct.Pull = GPIO_NOPULL;
  HAL_GPIO_Init(PDU_FAULT_GPIO_Port, &GPIO_InitStruct);

  /*Configure GPIO pin : ESP_STATUS_Pin */
  GPIO_InitStruct.Pin = ESP_STATUS_Pin;
  GPIO_InitStruct.Mode = GPIO_MODE_IT_RISING_FALLING;
  GPIO_InitStruct.Pull = GPIO_NOPULL;
  HAL_GPIO_Init(ESP_STATUS_GPIO_Port, &GPIO_InitStruct);

  /*AnalogSwitch Config */
  HAL_SYSCFG_AnalogSwitchConfig(SYSCFG_SWITCH_PC2, SYSCFG_SWITCH_PC2_CLOSE);

  /*AnalogSwitch Config */
  HAL_SYSCFG_AnalogSwitchConfig(SYSCFG_SWITCH_PC3, SYSCFG_SWITCH_PC3_CLOSE);

  /* EXTI interrupt init*/
  HAL_NVIC_SetPriority(IMU0_INT1_EXTI_IRQn, 0, 0);
  HAL_NVIC_EnableIRQ(IMU0_INT1_EXTI_IRQn);

  HAL_NVIC_SetPriority(IMU0_INT2_EXTI_IRQn, 0, 0);
  HAL_NVIC_EnableIRQ(IMU0_INT2_EXTI_IRQn);

  HAL_NVIC_SetPriority(PDU_FAULT_EXTI_IRQn, 0, 0);
  HAL_NVIC_EnableIRQ(PDU_FAULT_EXTI_IRQn);

  /* USER CODE BEGIN MX_GPIO_Init_2 */
  /* ETH_NRST is initialised LOW (reset asserted). Release the LAN8742A
   * PHY and allow ≥100 ms for it to complete its internal power-up reset
   * sequence before MX_LWIP_Init() attempts MDIO communication. */
  HAL_GPIO_WritePin(ETH_NRST_GPIO_Port, ETH_NRST_Pin, GPIO_PIN_SET);
  HAL_Delay(100U);
  /* USER CODE END MX_GPIO_Init_2 */
}

 /* MPU Configuration */

void MPU_Config(void)
{
  MPU_Region_InitTypeDef MPU_InitStruct = {0};

  /* Disables the MPU */
  HAL_MPU_Disable();

  /** Initializes and configures the Region and the memory to be protected
  */
  MPU_InitStruct.Enable = MPU_REGION_ENABLE;
  MPU_InitStruct.Number = MPU_REGION_NUMBER0;
  MPU_InitStruct.BaseAddress = 0x0;
  MPU_InitStruct.Size = MPU_REGION_SIZE_4GB;
  MPU_InitStruct.SubRegionDisable = 0x87;
  MPU_InitStruct.TypeExtField = MPU_TEX_LEVEL0;
  MPU_InitStruct.AccessPermission = MPU_REGION_NO_ACCESS;
  MPU_InitStruct.DisableExec = MPU_INSTRUCTION_ACCESS_DISABLE;
  MPU_InitStruct.IsShareable = MPU_ACCESS_SHAREABLE;
  MPU_InitStruct.IsCacheable = MPU_ACCESS_NOT_CACHEABLE;
  MPU_InitStruct.IsBufferable = MPU_ACCESS_NOT_BUFFERABLE;

  HAL_MPU_ConfigRegion(&MPU_InitStruct);

  /** Initializes and configures the Region and the memory to be protected
  */
  MPU_InitStruct.Number = MPU_REGION_NUMBER1;
  MPU_InitStruct.BaseAddress = 0x30000000;
  MPU_InitStruct.Size = MPU_REGION_SIZE_32KB;
  MPU_InitStruct.SubRegionDisable = 0x0;
  MPU_InitStruct.TypeExtField = MPU_TEX_LEVEL1;
  MPU_InitStruct.AccessPermission = MPU_REGION_FULL_ACCESS;
  MPU_InitStruct.DisableExec = MPU_INSTRUCTION_ACCESS_ENABLE;
  MPU_InitStruct.IsShareable = MPU_ACCESS_NOT_SHAREABLE;

  HAL_MPU_ConfigRegion(&MPU_InitStruct);
  /* Enables the MPU */
  HAL_MPU_Enable(MPU_PRIVILEGED_DEFAULT);

}

void Error_Handler(void)
{
  /* USER CODE BEGIN Error_Handler_Debug */
	/* Light orange LED (LED_1 / PC2) and blink 5x quickly so the fault is
	 * visible, then do a clean software reset.  Do NOT disable interrupts —
	 * that would block TIM6 and cause a supervisor WDT reset loop. */
	__HAL_RCC_GPIOC_CLK_ENABLE();
	for (int _i = 0; _i < 5; _i++) {
		HAL_GPIO_WritePin(LED_1_GPIO_Port, LED_1_Pin, GPIO_PIN_SET);
		HAL_Delay(80U);
		HAL_GPIO_WritePin(LED_1_GPIO_Port, LED_1_Pin, GPIO_PIN_RESET);
		HAL_Delay(80U);
	}
	NVIC_SystemReset();
  /* USER CODE END Error_Handler_Debug */
}
